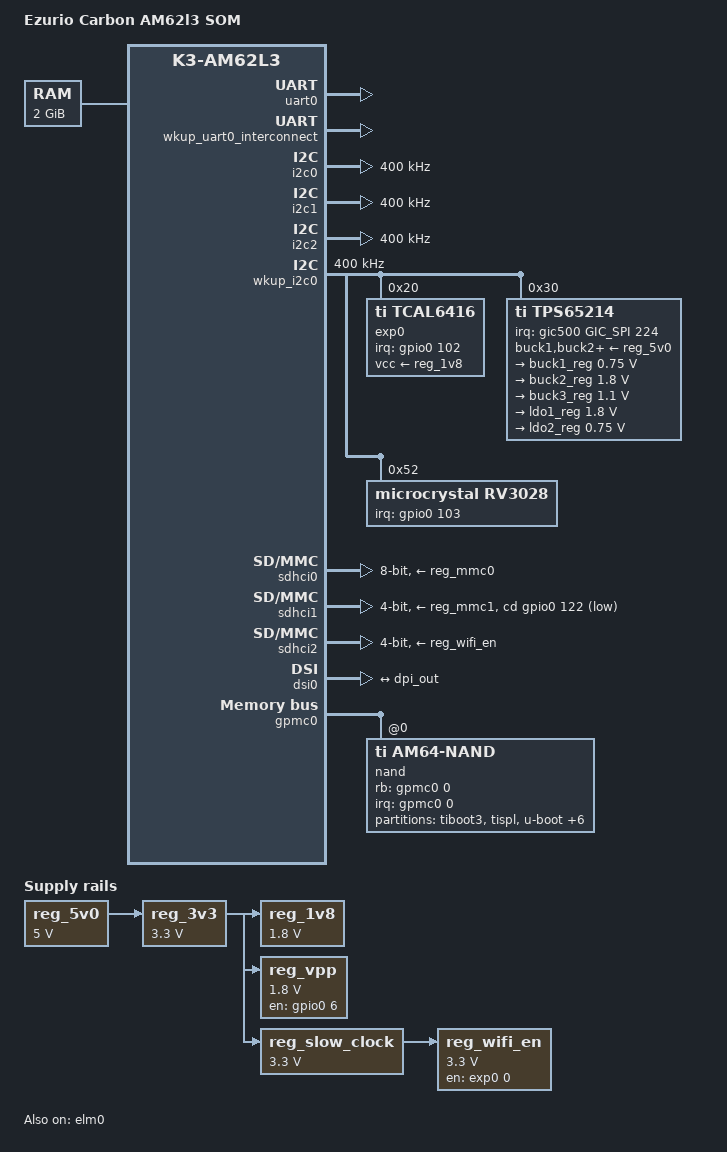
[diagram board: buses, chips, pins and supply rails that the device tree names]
// SPDX-License-Identifier: GPL-2.0
/*
 * AM62L Carbon SOM
 *
 * Copyright (C) 2026 Ezurio LLC
 */

#include <dt-bindings/gpio/gpio.h>
#include <dt-bindings/input/input.h>
#include "k3-pinctrl.h"

#include "k3-am62l3.dtsi"

/ {
	compatible = "summit,am62l3-carbon", "ti,am62l3";
	model = "Ezurio Carbon AM62l3 SOM";

	aliases {
		mmc0 = &sdhci0;			/* eMMC */
		mmc1 = &sdhci1;			/* SD/MMC */
		mmc2 = &sdhci2;			/* Wi-Fi */
		serial0 = &wkup_uart0;		/* UART_C */
		serial2 = &uart0; 		/* UART_CON */
		serial3 = &uart1;		/* BT */
		serial4 = &uart5;		/* UART_A */
		serial5 = &uart2;		/* UART_B */
		serial6 = &uart3;		/* UART_D */
		ethernet0 = &cpsw_port1;	/* ETH_A */
		ethernet1 = &cpsw_port2;	/* ETH_B */
		i2c0 = &wkup_i2c0;		/* I2C WKUP */
		i2c1 = &i2c0;		/* I2C_A */
		i2c2 = &i2c1;		/* I2C_B */
		i2c3 = &i2c2;		/* I2C_C */
		spi1 = &spi1;		/* SPI_A */
		spi2 = &spi0;		/* SPI_B */
		can0 = &mcan1;		/* CAN_A */
		can1 = &mcan2;		/* CAN_B */
		usb0 = &usb0;			/* USB_A */
		usb1 = &usb1;			/* USB_B */
		gpio0 = &wkup_gpio0;
		gpio1 = &gpio0;
		gpio2 = &gpio2;
		gpio3 = &exp0;
		rtc0 = &rv3028;
		rtc1 = &wkup_rtc0;
	};

	chosen {
		stdout-path = "serial2:115200n8";
	};

	memory: memory@80000000 {
		device_type = "memory";
		/* 2G RAM */
		reg = <0x00000000 0x80000000 0x00000000 0x80000000>;
	};

	thermal-zones {
		wkup0-thermal {
			polling-delay-passive = <250>;	/* milliSeconds */
			polling-delay = <500>;		/* milliSeconds */
			thermal-sensors = <&vtm0 0>;

			trips {
				crit0 {
					temperature = <125000>;
					hysteresis = <2000>;
					type = "critical";
				};
			};
		};
	};

	reserved_memory: reserved-memory {
		#address-cells = <2>;
		#size-cells = <2>;
		ranges;

		/* global cma region */
		cma: linux,cma {
			compatible = "shared-dma-pool";
			reusable;
			size = <0x00 0x10000000>;
			linux,cma-default;
		};
	};

	reg_5v0: regulator-5v0 {
		compatible = "regulator-fixed";
		regulator-name = "reg_5v0";

		regulator-min-microvolt = <5000000>;
		regulator-max-microvolt = <5000000>;

		regulator-always-on;
		regulator-boot-on;
	};

	reg_3v3: regulator-3v3 {
		compatible = "regulator-fixed";
		regulator-name = "reg_3v3";

		vin-supply = <&reg_5v0>;
		regulator-min-microvolt = <3300000>;
		regulator-max-microvolt = <3300000>;

		regulator-always-on;
		regulator-boot-on;
	};

	reg_1v8: regulator-1v8 {
		compatible = "regulator-fixed";
		regulator-name = "reg_1v8";

		vin-supply = <&reg_3v3>;
		regulator-min-microvolt = <1800000>;
		regulator-max-microvolt = <1800000>;

		regulator-always-on;
		regulator-boot-on;
	};

	reg_vpp: regulator-vpp {
		compatible = "regulator-fixed";
		regulator-name = "reg_vpp";

		vin-supply = <&reg_3v3>;
		regulator-min-microvolt = <1800000>;
		regulator-max-microvolt = <1800000>;

		pinctrl-names = "default";
		pinctrl-0 = <&vpp_en_pins_default>;
		gpios = <&gpio0 6 GPIO_ACTIVE_HIGH>;
		enable-active-high;
	};

	reg_mmc0: regulator-mmc0 {
		compatible = "regulator-fixed";
		regulator-name = "reg_mmc0";

		vin-supply = <&reg_3v3>;
		regulator-min-microvolt = <3300000>;
		regulator-max-microvolt = <3300000>;

		gpios = <&exp0 7 GPIO_ACTIVE_HIGH>;
		enable-active-high;

		startup-delay-us = <5000>;
		status = "disabled";
	};

	reg_mmc1: regulator-mmc1 {
		compatible = "regulator-fixed";
		regulator-name = "reg_mmc1";

		vin-supply = <&reg_3v3>;
		regulator-min-microvolt = <3300000>;
		regulator-max-microvolt = <3300000>;

		pinctrl-names = "default";
		pinctrl-0 = <&mmc1_power_en_pins_default>;
		gpios = <&gpio0 51 GPIO_ACTIVE_HIGH>;
		enable-active-high;

		startup-delay-us = <5000>;
		status = "disabled";
	};

	mmc0_pwrseq: mmc0-pwrseq {
		pinctrl-names = "default";
		pinctrl-0 = <&mmc0_reset_pins_default>;

		compatible = "mmc-pwrseq-emmc";
		reset-gpios = <&gpio0 52 GPIO_ACTIVE_LOW>;

		status = "disabled";
	};

	reg_slow_clock: regulator-slow-clock {
		compatible = "regulator-fixed-clock";

		regulator-name = "reg_slow_clock";
		regulator-min-microvolt = <3300000>;
		regulator-max-microvolt = <3300000>;

		vin-supply = <&reg_3v3>;
		clocks = <&scmi_clk 406>;

		startup-delay-us = <1000>;

		pinctrl-names = "default";
		pinctrl-0 = <&wkup_clkout_pins_default>;

		assigned-clocks = <&scmi_clk 471>, <&scmi_clk 406>;
		assigned-clock-parents = <&scmi_clk 468>, <&scmi_clk 404>;
	};

	reg_wifi_en: regulator-wifi-en {
		compatible = "regulator-fixed";

		regulator-name = "reg_wifi_en";
		regulator-min-microvolt = <3300000>;
		regulator-max-microvolt = <3300000>;

		vin-supply = <&reg_slow_clock>;

		gpios = <&exp0 0 GPIO_ACTIVE_HIGH>;
		enable-active-high;
	};

	wifi_wakeup: wifi-wakeup {
		compatible = "gpio-keys";

		status = "disabled";

		pinctrl-names = "default";
		pinctrl-0 = <&wifi_wake_default>, <&bt_wake_pins_default>;

		wifi-wake {
			label = "Wi-Fi Wake Up";
			linux,code = <KEY_WAKEUP>;
			wakeup-source;

			interrupts-extended = <&gpio0 82 IRQ_TYPE_EDGE_FALLING>,
				<&pmx0 0x18c>;
			interrupt-names = "irq", "wakeup";

			//gpios = <&gpio0 82 GPIO_ACTIVE_LOW>;
			//wakeup-event-action = <EV_ACT_ASSERTED>;
		};

		bt-wake {
			label = "BT Wake Up";
			linux,code = <KEY_WAKEUP>;
			wakeup-source;

			interrupts-extended = <&gpio0 5 IRQ_TYPE_EDGE_FALLING>,
				<&pmx0 0x050>;
			interrupt-names = "irq", "wakeup";

			//gpios = <&gpio0 5 GPIO_ACTIVE_LOW>;
			//wakeup-event-action = <EV_ACT_ASSERTED>;
		};
	};
};

&uart0 {
	/* UART_CON */
	pinctrl-names = "default", "wakeup";
	pinctrl-0 = <&uart0_tx_pins_default>, <&uart0_rx_pins_default>;
	pinctrl-1 = <&uart0_tx_pins_default>, <&uart0_rx_pins_wakeup>;
	wakeup-source;
	status = "okay";
};

&uart1 {
	/* BT */
	pinctrl-names = "default";
	pinctrl-0 = <&uart1_pins_default>;

	uart-has-rtscts;
};

&uart2 {
	/* UART_B */
	pinctrl-names = "default";
	pinctrl-0 = <&uart2_pins_default>;
};

&uart3 {
	/* UART_D */
	pinctrl-names = "default";
	pinctrl-0 = <&uart3_pins_default>;
};

&uart5 {
	/* UART_A */
	pinctrl-names = "default";
	pinctrl-0 = <&uart5_pins_default>;
};

&wkup_uart0_interconnect {
	status = "okay";
};

&wkup_uart0 {
	/* UART_C */
	pinctrl-names = "default";
	pinctrl-0 = <&wkup_uart0_pins_default>;
};

&i2c0 {
	/* I2C_A */
	pinctrl-names = "default";
	pinctrl-0 = <&i2c0_pins_default>;

	clock-frequency = <400000>;
};

&i2c1 {
	/* I2C_B */
	pinctrl-names = "default";
	pinctrl-0 = <&i2c1_pins_default>;

	clock-frequency = <400000>;
};

&i2c2 {
	/* I2C_C */
	pinctrl-names = "default";
	pinctrl-0 = <&i2c2_pins_default>;

	clock-frequency = <400000>;
};

&wkup_i2c0 {
	pinctrl-names = "default";
	pinctrl-0 = <&wkup_i2c0_pins_default>;

	clock-frequency = <400000>;

	status = "okay";

	exp0: gpio@20 {
		compatible = "ti,tcal6416", "nxp,pcal6416";
		reg = <0x20>;

		vcc-supply = <&reg_1v8>;

		gpio-controller;
		#gpio-cells = <2>;

		gpio-line-names =
			"W_DISABLE1", "W_DISABLE2", "CARRIER_PWR_EN",
			"BT_DEVICE_WAKE", "WL_DEVICE_WAKE", "GPIO_C_2",
			"CARRIER_STBY", "SDIO_B_PWR_EN", "GPIO_B_6",
			"GPIO_B_7", "USB_A_ID","USB_A_OC",
			"ETH_B_RST", "ETH_B_INT", "GPIO_C_4",
			"GPIO_C_5";

		interrupt-controller;
		#interrupt-cells = <2>;

		pinctrl-names = "default";
		pinctrl-0 = <&exp0_pins_default>;
		interrupts-extended = <&gpio0 102 IRQ_TYPE_EDGE_FALLING>;
	};

	tps65214: pmic@30 {
		compatible = "ti,tps65214";
		reg = <0x30>;
		interrupts-extended = <&gic500 GIC_SPI 224 IRQ_TYPE_LEVEL_HIGH>;
		pinctrl-0 = <&pmic_irq_pins_default>;
		ti,power-button;

		buck1-supply = <&reg_5v0>;
		buck2-supply = <&reg_5v0>;
		buck3-supply = <&reg_5v0>;
		ldo1-supply = <&reg_5v0>;
		ldo2-supply = <&reg_5v0>;

		regulators {
			buck1_reg: buck1 {
				regulator-name = "VDD_CORE";
				regulator-min-microvolt = <750000>;
				regulator-max-microvolt = <750000>;
				regulator-always-on;
				regulator-boot-on;
			};

			buck2_reg: buck2 {
				regulator-name = "DVDD_1V8";
				regulator-min-microvolt = <1800000>;
				regulator-max-microvolt = <1800000>;
				regulator-always-on;
				regulator-boot-on;
			};

			buck3_reg: buck3 {
				regulator-name = "VDD_LPDDR4";
				regulator-min-microvolt = <1100000>;
				regulator-max-microvolt = <1100000>;
				regulator-always-on;
				regulator-boot-on;
			};

			ldo1_reg: ldo1 {
				regulator-name = "VDDA_1V8";
				regulator-min-microvolt = <1800000>;
				regulator-max-microvolt = <1800000>;
				regulator-always-on;
				regulator-boot-on;
			};

			ldo2_reg: ldo2 {
				regulator-name = "VDDA_V75";
				regulator-min-microvolt = <750000>;
				regulator-max-microvolt = <750000>;
				regulator-always-on;
				regulator-boot-on;
			};
		};
	};

	rv3028: rtc@52 {
		compatible = "microcrystal,rv3028";
		reg = <0x52>;

		backup-switchover-dsm;
		pinctrl-names = "default";
		pinctrl-0 = <&rtc_pins_default>;
		interrupts-extended = <&gpio0 103 IRQ_TYPE_EDGE_FALLING>;
		interrupt-names = "irq";
		wakeup-source;

		#clock-cells = <0>;

		eeprom {
			compatible = "microcrystal,rv3028-eeprom";
			#address-cells = <1>;
			#size-cells = <1>;

			eth_mac0: mac-address@0 {
				reg = <0x00 0x06>;
			};

			eth_mac1: mac-address@6 {
				reg = <0x06 0x06>;
			};

			ram_type: ram-type@c {
				reg = <0x0c 0x02>;
			};

			radio_type: radio-type@e {
				reg = <0x0e 0x02>;
			};
		};
	};
};

&spi0 {
	/* SPI_B */
	pinctrl-names = "default";
	pinctrl-0 = <&spi0_pins_default>;
};

&spi1 {
	/* SPI_A */
	pinctrl-names = "default";
	pinctrl-0 = <&spi1_pins_default>;
};

&mcan1 {
	/* CAN_A */
	pinctrl-names = "default";
	pinctrl-0 = <&mcan1_pins_default>;
};

&mcan2 {
	/* CAN_B */
	pinctrl-names = "default";
	pinctrl-0 = <&mcan2_pins_default>;
};

&epwm1 {
	/* PWM_0 */
	pinctrl-names = "default";
	pinctrl-0 = <&epwm1_pins_default>;
};

&gpio0 {
	status = "okay";
};

&gpio2 {
	status = "okay";
};

&sdhci0 {
	/* eMMC */
	pinctrl-names = "default";
	pinctrl-0 = <&mmc0_pins_default>;

	vmmc-supply = <&reg_mmc0>;
	mmc-pwrseq = <&mmc0_pwrseq>;

	disable-wp;
	bus-width = <8>;

	ti,fails-without-test-cd;
};

&sdhci1 {
	/* SD/MMC */
	pinctrl-names = "default";
	pinctrl-0 = <&mmc1_pins_default>;

	vmmc-supply = <&reg_mmc1>;

	cd-gpios = <&gpio0 122 GPIO_ACTIVE_LOW>;

	disable-wp;
	bus-width = <4>;

	ti,fails-without-test-cd;
};

&sdhci2 {
	/* WI-FI */
	pinctrl-names = "default";
	pinctrl-0 = <&mmc2_pins_default>;

	vmmc-supply = <&reg_wifi_en>;

	disable-wp;
	bus-width = <4>;

	ti,fails-without-test-cd;

	keep-power-in-suspend;
};

&tscadc0 {
	adc {
		ti,adc-channels = <0 3>;
	};
};

&cpsw3g {
	pinctrl-names = "default";
	pinctrl-0 = <&rgmii1_pins_default>, <&rgmii2_pins_default>;

	status = "disabled";
};

&cpsw_port1 {
	status = "disabled";
	phy-mode = "rgmii-id";

	nvmem-cells = <&eth_mac0>;
	nvmem-cell-names = "mac-address";
};

&cpsw_port2 {
	status = "disabled";
	phy-mode = "rgmii-id";

	nvmem-cells = <&eth_mac1>;
	nvmem-cell-names = "mac-address";
};

&cpsw3g_mdio {
	pinctrl-names = "default";
	pinctrl-0 = <&mdio0_pins_default>;
};

&dss_ports {
	#address-cells = <1>;
	#size-cells = <0>;

	port@0 {
		reg = <0>;

		dpi_out: endpoint {
			remote-endpoint = <&dsi0_in>;
		};
	};
};

&dsi0 {
	#address-cells = <1>;
	#size-cells = <0>;

	ports {
		#address-cells = <1>;
		#size-cells = <0>;

		port@0 {
			reg = <0>;
			dsi0_out: endpoint {
			};
		};

		port@1 {
			reg = <1>;
			dsi0_in: endpoint {
				remote-endpoint = <&dpi_out>;
			};
		};
	};
};

&elm0 {
	status = "okay";
};

&gpmc0 {
	status = "okay";

	pinctrl-names = "default";
	pinctrl-0 = <&gpmc0_pins_default>;
	
	#address-cells = <2>;
	#size-cells = <1>;
	
	ranges = <0 0 0x00 0x51000000 0x01000000>; /* CS0 space. Min partition = 16MB */

	nand@0,0 {
		compatible = "ti,am64-nand";
		reg = <0 0 64>;		/* device IO registers */
		interrupt-parent = <&gpmc0>;
		interrupts = <0 IRQ_TYPE_NONE>, /* fifoevent */
			     <1 IRQ_TYPE_NONE>;	/* termcount */
		rb-gpios = <&gpmc0 0 GPIO_ACTIVE_HIGH>;	/* gpmc_wait0 */
		ti,nand-xfer-type = "prefetch-polled";
		ti,nand-ecc-opt = "bch8";	/* BCH8: Bootrom limitation */
		ti,elm-id = <&elm0>;
		nand-bus-width = <8>;
		gpmc,device-width = <1>;
		gpmc,sync-clk-ps = <0>;
		gpmc,cs-on-ns = <0>;
		gpmc,cs-rd-off-ns = <40>;
		gpmc,cs-wr-off-ns = <40>;
		gpmc,adv-on-ns = <0>;
		gpmc,adv-rd-off-ns = <25>;
		gpmc,adv-wr-off-ns = <25>;
		gpmc,we-on-ns = <0>;
		gpmc,we-off-ns = <20>;
		gpmc,oe-on-ns = <3>;
		gpmc,oe-off-ns = <30>;
		gpmc,access-ns = <30>;
		gpmc,rd-cycle-ns = <40>;
		gpmc,wr-cycle-ns = <40>;
		gpmc,bus-turnaround-ns = <0>;
		gpmc,cycle2cycle-delay-ns = <0>;
		gpmc,clk-activation-ns = <0>;
		gpmc,wr-access-ns = <40>;
		gpmc,wr-data-mux-bus-ns = <0>;

		partitions {
			compatible = "fixed-partitions";
			#address-cells = <1>;
			#size-cells = <1>;

			partition@0 {
				label = "tiboot3";
				reg = <0x00000000 0x00080000>;	/* 512KB */
			};
			partition@80000 {
				label = "tispl";
				reg = <0x00080000 0x00200000>; /* 2M */
			};
			partition@280000 {
				label = "u-boot";
				reg = <0x00280000 0x00180000>;	/* 1.5M */
			};
			partition@400000 {
				label = "tiboot3.backup";	/* 512KB */
				reg = <0x00400000 0x00080000>;	/* BootROM looks at 4M */
			};
			partition@480000 {
				label = "tispl.backup";
				reg = <0x00480000 0x00200000>; /* 2M */
			};
			partition@680000 {
				label = "u-boot.backup";
				reg = <0x00680000 0x00180000>;	/* 1.5M */
			};
			partition@800000 {
				label = "u-boot-env-a";
				reg = <0x00800000 0x00040000>;	/* 256K */
			};
			partition@840000 {
				label = "u-boot-env-b";
				reg = <0x00840000 0x00040000>;	/* 256K */
			};
			partition@880000 {
				label = "ubi";
				reg = <0x00880000 0x3f700000>; /* exact UBI size, leave 512KB for BBT */
			};
		};
	};
};

&usbss0 {
	ti,vbus-divider;
};

&usbss1 {
	ti,vbus-divider;
};

&mcasp2 {
	#sound-dai-cells = <0>;

	pinctrl-names = "default";
	pinctrl-0 = <&mcasp2_pins_default>;

	op-mode = <0>;          /* MCASP_IIS_MODE */
	tdm-slots = <2>;

	serial-dir = <  /* 0: INACTIVE, 1: TX, 2: RX */
		   0 0 0 0
		   0 0 0 0
		   0 0 0 0
		   1 0 0 2
	>;
	tx-num-evt = <0>;
	rx-num-evt = <0>;
};

&pmx0 {
	uart0_tx_pins_default: uart0-tx-default-pins {
		pinctrl-single,pins = <
			AM62LX_IOPAD(0x01b8, PIN_OUTPUT, 0) /* UART_CON_TXD (C13) UART0_TXD */
		>;
	};

	uart0_rx_pins_default: uart0-rx-default-pins {
		pinctrl-single,pins = <
			AM62LX_IOPAD(0x01b4, PIN_INPUT_PULLUP, 0) /* UART_CON_RXD (D13) UART0_RXD */
		>;
	};

	uart0_rx_pins_wakeup: uart0-rx-wakeup-pins {
		pinctrl-single,pins = <
			AM62LX_IOPAD(0x01b4, PIN_INPUT_PULLUP | PIN_WKUP_EN, 0)	/* UART_CON_RXD (D13) UART0_RXD */
		>;
	};

	uart1_pins_default: uart1-default-pins {
		pinctrl-single,pins = <
			AM62LX_IOPAD(0x0180, PIN_INPUT_PULLUP, 2) /* UART_BT_CTS (A8) MCASP0_AXR3.UART1_CTSn */
			AM62LX_IOPAD(0x0184, PIN_OUTPUT, 2) /* UART_BT_RTS (B10) MCASP0_AXR2.UART1_RTSn */
			AM62LX_IOPAD(0x0198, PIN_INPUT_PULLUP, 2) /* UART_BT_RX (C11) MCASP0_AFSR.UART1_RXD */
			AM62LX_IOPAD(0x019c, PIN_OUTPUT, 2) /* UART_BT_TX (A12) MCASP0_ACLKR.UART1_TXD */
		>;
	};

	uart2_pins_default: uart2-default-pins {
		pinctrl-single,pins = <
			AM62LX_IOPAD(0x00B0, PIN_INPUT_PULLUP, 8) /* UART_B_CTS (A8) GPMC0_AD14.UART2_CTSn */
			AM62LX_IOPAD(0x00B4, PIN_OUTPUT, 8) /* UART_B_RTS (B10) GPMC0_AD15.UART2_RTSn */
			AM62LX_IOPAD(0x0098, PIN_INPUT_PULLUP, 2) /* UART_B_RX (H19) GPMC0_AD8.UART2_RXD */
			AM62LX_IOPAD(0x009c, PIN_OUTPUT, 2) /* UART_B_TX (H20) GPMC0_AD9.UART2_TXD */
		>;
	};

	uart3_pins_default: uart3-default-pins {
		pinctrl-single,pins = <
			AM62LX_IOPAD(0x00a0, PIN_INPUT_PULLUP, 2) /* UART_D_RX (H21) GPMC0_AD10.UART3_RXD */
			AM62LX_IOPAD(0x00a4, PIN_OUTPUT, 2) /* UART_D_TX (H18) GPMC0_AD11.UART3_TXD */
		>;
	};

	uart5_pins_default: uart5-default-pins {
		pinctrl-single,pins = <
			AM62LX_IOPAD(0x0044, PIN_INPUT_PULLUP, 5) /* UART_A_CTS (E22) OSPI0_DQS.UART5_CTSn */
			AM62LX_IOPAD(0x0040, PIN_OUTPUT, 5) /* UART_A_RTS (E18) OSPI0_LBCLKO.UART5_RTSn */
			AM62LX_IOPAD(0x01c4, PIN_INPUT_PULLUP, 1) /* UART_A_RX (B16) MCAN0_TX.UART5_RXD */
			AM62LX_IOPAD(0x01c8, PIN_OUTPUT, 1) /* UART_A_TX (B15) MCAN0_RX.UART5_TXD */
		>;
	};

	wkup_clkout_pins_default: wkup-clkout-default-pins {
		pinctrl-single,pins = <
			AM62LX_IOPAD(0x0018, PIN_OUTPUT, 0) /* (Y23) WKUP_CLKOUT0 */
		>;
	};

	wkup_uart0_pins_default: wkup-uart0-default-pins {
		pinctrl-single,pins = <
			AM62LX_IOPAD(0x0000, PIN_INPUT_PULLUP, 0) /* UART_C_RX (Y22) WKUP_UART0_RXD */
			AM62LX_IOPAD(0x0004, PIN_OUTPUT, 0) /* UART_C_TX (AA23) WKUP_UART0_TXD */
		>;
	};

	wkup_uart0_rtscts_pins_default: wkup-uart0-rtscts-default-pins {
		pinctrl-single,pins = <
			AM62LX_IOPAD(0x0008, PIN_INPUT_PULLUP, 0) /* UART_C_CTS (W23) WKUP_UART0_CTSn */
			AM62LX_IOPAD(0x000C, PIN_OUTPUT, 0) /* UART_C_RTS (W22) WKUP_UART0_RTSn */
		>;
	};

	wkup_i2c0_pins_default: wkup-i2c0-default-pins {
		pinctrl-single,pins = <
			AM62LX_IOPAD(0x0010, PIN_INPUT_PULLUP, 0) /* (AB22) WKUP_I2C0_SCL */
			AM62LX_IOPAD(0x0014, PIN_INPUT_PULLUP, 0) /* (AA22) WKUP_I2C0_SDA */
		>;
	};

	i2c0_pins_default: i2c0-default-pins {
		pinctrl-single,pins = <
			AM62LX_IOPAD(0x01cc, PIN_INPUT_PULLUP, 0) /* I2C_A_SCL (B7) I2C0_SCL */
			AM62LX_IOPAD(0x01d0, PIN_INPUT_PULLUP, 0) /* I2C_A_SDA (A7) I2C0_SDA */
		>;
	};

	i2c1_pins_default: i2c1-default-pins {
		pinctrl-single,pins = <
			AM62LX_IOPAD(0x01d4, PIN_INPUT_PULLUP, 0) /* I2C_B_SCL (D7) I2C1_SCL */
			AM62LX_IOPAD(0x01d8, PIN_INPUT_PULLUP, 0) /* I2C_B_SDA (A6) I2C1_SDA */
		>;
	};

	i2c2_pins_default: i2c2-default-pins {
		pinctrl-single,pins = <
			AM62LX_IOPAD(0x00ec, PIN_INPUT_PULLUP, 1) /* I2C_C_SCL (M23) GPMC0_CSn2.I2C2_SCL */
			AM62LX_IOPAD(0x00f0, PIN_INPUT_PULLUP, 1) /* I2C_C_SDA (M22) GPMC0_CSn3.I2C2_SDA */
		>;
	};

	spi0_pins_default: spi0-default-pins {
		pinctrl-single,pins = <
			AM62LX_IOPAD(0x01ac, PIN_OUTPUT, 0) /* SPI_B_SDO (E12) SPI0_D0 */
			AM62LX_IOPAD(0x01b0, PIN_INPUT, 0) /* SPI_B_SDI (B12) SPI0_D1 */
			AM62LX_IOPAD(0x01a8, PIN_OUTPUT, 0) /* SPI_B_SCK (E13) SPI0_CLK */
			AM62LX_IOPAD(0x01a0, PIN_INPUT, 0) /* SPI_B_CS0# (F11) SPI0_CS0 */
		>;
	};

	spi0_cs1_pins_default: spi0-cs1-default-pins {
		pinctrl-single,pins = <
			AM62LX_IOPAD(0x01a4, PIN_INPUT, 0) /* SPI_B_CS1# (D11) SPI0_CS1 */
		>;
	};

	spi1_pins_default: spi1-default-pins {
		pinctrl-single,pins = <
			AM62LX_IOPAD(0x0060, PIN_OUTPUT, 1) /* SPI_A_SDO (G20) OSPI0_D6.SPI1_D0 */
			AM62LX_IOPAD(0x0064, PIN_INPUT, 1) /* SPI_A_SDI (F20) OSPI0_D7.SPI1_D1 */
			AM62LX_IOPAD(0x005c, PIN_OUTPUT, 1) /* SPI_A_SCK (F19) OSPI0_D5.SPI1_CLK */
			AM62LX_IOPAD(0x0058, PIN_INPUT, 1) /* SPI_A_CS0# (F21) OSPI0_D4.SPI1_CS0 */
		>;
	};

	spi1_cs1_pins_default: spi1-cs1-default-pins {
		pinctrl-single,pins = <
			AM62LX_IOPAD(0x0070, PIN_INPUT, 1) /* SPI_A_CS1# (D18) OSPI0_CSn2.SPI1_CS1 */
		>;
	};

	mcan1_pins_default: mcan1-default-pins {
		pinctrl-single,pins = <
			AM62LX_IOPAD(0x0e0, PIN_OUTPUT, 9) /* CAN_A_TX (M21) GPMC0_DIR.MCAN1_TX */
			AM62LX_IOPAD(0x0d8, PIN_INPUT, 9) /* CAN_A_RX (N22) GPMC0_WAIT1.MCAN1_RX */
		>;
	};

	mcan2_pins_default: mcan2-default-pins {
		pinctrl-single,pins = <
			AM62LX_IOPAD(0x1c0, PIN_OUTPUT, 6) /* CAN_B_TX (B13) UART0_RTSn.MCAN2_TX */
			AM62LX_IOPAD(0x1bc, PIN_INPUT, 6) /* CAN_B_RX (B14) UART0_CTSn.MCAN2_RX */
		>;
	};

	mmc0_pins_default: mmc0-default-pins {
		pinctrl-single,pins = <
			AM62LX_IOPAD(0x0214, PIN_INPUT_PULLUP, 0) /* SDIO_B_CMD (D2) MMC0_CMD */
			AM62LX_IOPAD(0x020c, PIN_OUTPUT, 0) /* SDIO_B_CLK (B2) MMC0_CLK */
			AM62LX_IOPAD(0x0208, PIN_INPUT_PULLUP, 0) /* SDIO_B_DAT0 (D3) MMC0_DAT0 */
			AM62LX_IOPAD(0x0204, PIN_INPUT_PULLUP, 0) /* SDIO_B_DAT1 (D4) MMC0_DAT1 */
			AM62LX_IOPAD(0x0200, PIN_INPUT_PULLUP, 0) /* SDIO_B_DAT2 (C1) MMC0_DAT2 */
			AM62LX_IOPAD(0x01fc, PIN_INPUT_PULLUP, 0) /* SDIO_B_DAT3 (C2) MMC0_DAT3 */
			AM62LX_IOPAD(0x01f8, PIN_INPUT_PULLUP, 0) /* SDIO_B_DAT4 (C4) MMC0_DAT4 */
			AM62LX_IOPAD(0x01f4, PIN_INPUT_PULLUP, 0) /* SDIO_B_DAT5 (B3) MMC0_DAT5 */
			AM62LX_IOPAD(0x01f0, PIN_INPUT_PULLUP, 0) /* SDIO_B_DAT6 (A3) MMC0_DAT6 */
			AM62LX_IOPAD(0x01ec, PIN_INPUT_PULLUP, 0) /* SDIO_B_DAT7 (B4) MMC0_DAT7 */
			AM62LX_IOPAD(0x0210, PIN_INPUT, 0) /* (#N/A) MMC0_CLKLB */
		>;
	};

	mmc1_pins_default: mmc1-default-pins {
		pinctrl-single,pins = <
			AM62LX_IOPAD(0x0230, PIN_INPUT_PULLUP, 0) /* SDIO_A_CMD (Y3) MMC1_CMD */
			AM62LX_IOPAD(0x0228, PIN_OUTPUT, 0) /* SDIO_A_CLK (Y2) MMC1_CLK */
			AM62LX_IOPAD(0x0224, PIN_INPUT_PULLUP, 0) /* SDIO_A_DAT0 (AA1) MMC1_DAT0 */
			AM62LX_IOPAD(0x0220, PIN_INPUT_PULLUP, 0) /* SDIO_A_DAT1 (Y4) MMC1_DAT1 */
			AM62LX_IOPAD(0x021c, PIN_INPUT_PULLUP, 0) /* SDIO_A_DAT2 (AA2) MMC1_DAT2 */
			AM62LX_IOPAD(0x0218, PIN_INPUT_PULLUP, 0) /* SDIO_A_DAT3 (AB2) MMC1_DAT3 */
			AM62LX_IOPAD(0x022c, PIN_INPUT, 0) /* (#N/A) MMC1_CLKLB */
			AM62LX_IOPAD(0x0234, PIN_INPUT_PULLUP, 7) /* SDIO_A_CD (B6) MMC1_SDCD.GPIO0_122 */
		>;
	};

	mmc2_pins_default: mmc2-default-pins {
		pinctrl-single,pins = <
			AM62LX_IOPAD(0x010c, PIN_INPUT_PULLUP, 0) /* (U23) MMC2_CMD */
			AM62LX_IOPAD(0x0104, PIN_OUTPUT, 0) /* (R23) MMC2_CLK */
			AM62LX_IOPAD(0x0100, PIN_INPUT_PULLUP, 0) /* (U22) MMC2_DAT0 */
			AM62LX_IOPAD(0x00fc, PIN_INPUT_PULLUP, 0) /* (T22) MMC2_DAT1 */
			AM62LX_IOPAD(0x00f8, PIN_INPUT_PULLUP, 0) /* (T23) MMC2_DAT2 */
			AM62LX_IOPAD(0x00f4, PIN_INPUT_PULLUP, 0) /* (R22) MMC2_DAT3 */
			AM62LX_IOPAD(0x0108, PIN_INPUT, 0) /* (#N/A) MMC2_CLKLB */
		>;
	};

	gpmc0_pins_default: gpmc0-default-pins {
		pinctrl-single,pins = <
			AM62LX_IOPAD(0x0078, PIN_INPUT, 0) /* (L22) GPMC0_AD0 */
			AM62LX_IOPAD(0x007c, PIN_INPUT, 0) /* (L23) GPMC0_AD1 */
			AM62LX_IOPAD(0x0080, PIN_INPUT, 0) /* (K22) GPMC0_AD2 */
			AM62LX_IOPAD(0x0084, PIN_INPUT, 0) /* (J23) GPMC0_AD3 */
			AM62LX_IOPAD(0x0088, PIN_INPUT, 0) /* (K23) GPMC0_AD4 */
			AM62LX_IOPAD(0x008c, PIN_INPUT, 0) /* (H22) GPMC0_AD5 */
			AM62LX_IOPAD(0x0090, PIN_INPUT, 0) /* (H23) GPMC0_AD6 */
			AM62LX_IOPAD(0x0094, PIN_INPUT, 0) /* (J22) GPMC0_AD7 */
			AM62LX_IOPAD(0x00d4, PIN_INPUT, 0) /* (N23) GPMC0_WAIT0 */
			AM62LX_IOPAD(0x00e4, PIN_OUTPUT, 0) /* (L20) GPMC0_CSn0 */
			AM62LX_IOPAD(0x00c0, PIN_OUTPUT, 0) /* (N19) GPMC0_ADVn_ALE */
			AM62LX_IOPAD(0x00c4, PIN_OUTPUT, 0) /* (N20) GPMC0_OEn_REn */
			AM62LX_IOPAD(0x00c8, PIN_OUTPUT, 0) /* (M19) GPMC0_WEn */
			AM62LX_IOPAD(0x00cc, PIN_OUTPUT, 0) /* (P23) GPMC0_BE0n_CLE */
			AM62LX_IOPAD(0x00dc, PIN_OUTPUT, 0) /* (N21) GPMC0_WPn */
		>;
	};

	mdio0_pins_default: mdio0-default-pins {
		pinctrl-single,pins = <
			AM62LX_IOPAD(0x014c, PIN_OUTPUT, 0) /* ETH_A(B)_MDC (AC15) MDIO0_MDC */
			AM62LX_IOPAD(0x0148, PIN_INPUT, 0) /* ETH_A(B)_MDIO (AC13) MDIO0_MDIO */
		>;
	};

	rgmii1_pins_default: rgmii1-default-pins {
		pinctrl-single,pins = <
			AM62LX_IOPAD(0x0138, PIN_INPUT, 0) /* ETH_A_(S)(R)(G)MII_RXD0 (Y8) RGMII1_RD0 */
			AM62LX_IOPAD(0x013c, PIN_INPUT, 0) /* ETH_A_(S)(R)(G)MII_RXD1 (AA6) RGMII1_RD1 */
			AM62LX_IOPAD(0x0140, PIN_INPUT, 0) /* ETH_A_(S)(R)(G)MII_RXD2 (AA8) RGMII1_RD2 */
			AM62LX_IOPAD(0x0144, PIN_INPUT, 0) /* ETH_A_(S)(R)(G)MII_RXD3 (W8) RGMII1_RD3 */
			AM62LX_IOPAD(0x0134, PIN_INPUT, 0) /* ETH_A_(R)(G)MII_RX_CLK (Y7) RGMII1_RXC */
			AM62LX_IOPAD(0x0130, PIN_INPUT, 0) /* ETH_A_(R)(G)MII_RX_DV(_ER) (Y6) RGMII1_RX_CTL */
			AM62LX_IOPAD(0x0120, PIN_OUTPUT, 0) /* ETH_A_(S)(R)(G)MII_TXD0 (AC10) RGMII1_TD0 */
			AM62LX_IOPAD(0x0124, PIN_OUTPUT, 0) /* ETH_A_(S)(R)(G)MII_TXD1 (W13) RGMII1_TD1 */
			AM62LX_IOPAD(0x0128, PIN_OUTPUT, 0) /* ETH_A_(S)(R)(G)MII_TXD2 (Y11) RGMII1_TD2 */
			AM62LX_IOPAD(0x012c, PIN_OUTPUT, 0) /* ETH_A_(S)(R)(G)MII_TXD3 (AA11) RGMII1_TD3 */
			AM62LX_IOPAD(0x011c, PIN_OUTPUT, 0) /* ETH_A_(R)(G)MII_TX_CLK (W11) RGMII1_TXC */
			AM62LX_IOPAD(0x0118, PIN_OUTPUT, 0) /* ETH_A_(R)(G)MII_TX_EN(_ER) (AB11) RGMII1_TX_CTL */
		>;
	};

	rgmii2_pins_default: rgmii2-default-pins {
		pinctrl-single,pins = <
			AM62LX_IOPAD(0x0170, PIN_INPUT, 0) /* ETH_B_(S)(R)(G)MII_RXD0 (AB9) RGMII2_RD0 */
			AM62LX_IOPAD(0x0174, PIN_INPUT, 0) /* ETH_B_(S)(R)(G)MII_RXD1 (AC9) RGMII2_RD1 */
			AM62LX_IOPAD(0x0178, PIN_INPUT, 0) /* ETH_B_(S)(R)(G)MII_RXD2 (AB10) RGMII2_RD2 */
			AM62LX_IOPAD(0x017c, PIN_INPUT, 0) /* ETH_B_(S)(R)(G)MII_RXD3 (AB8) RGMII2_RD3 */
			AM62LX_IOPAD(0x016c, PIN_INPUT, 0) /* ETH_B_(R)(G)MII_RX_CLK (AC7) RGMII2_RXC */
			AM62LX_IOPAD(0x0168, PIN_INPUT, 0) /* ETH_B_(R)(G)MII_RX_DV(_ER) (AC8) RGMII2_RX_CTL */
			AM62LX_IOPAD(0x0158, PIN_OUTPUT, 0) /* ETH_B_(S)(R)(G)MII_TXD0 (AC12) RGMII2_TD0 */
			AM62LX_IOPAD(0x015c, PIN_OUTPUT, 0) /* ETH_B_(S)(R)(G)MII_TXD1 (AB13) RGMII2_TD1 */
			AM62LX_IOPAD(0x0160, PIN_OUTPUT, 0) /* ETH_B_(S)(R)(G)MII_TXD2 (AA12) RGMII2_TD2 */
			AM62LX_IOPAD(0x0164, PIN_OUTPUT, 0) /* ETH_B_(S)(R)(G)MII_TXD3 (AA13) RGMII2_TD3 */
			AM62LX_IOPAD(0x0154, PIN_OUTPUT, 0) /* ETH_B_(R)(G)MII_TX_CLK (Y13) RGMII2_TXC */
			AM62LX_IOPAD(0x0150, PIN_OUTPUT, 0) /* ETH_B_(R)(G)MII_TX_EN(_ER) (AB12) RGMII2_TX_CTL */
		>;
	};

	rmii1_pins_default: rmii1-default-pins {
		pinctrl-single,pins = <
			AM62LX_IOPAD(0x0138, PIN_INPUT, 1) /* ETH_A_(S)(R)(G)MII_RXD0 (Y8) RGMII1_RD0.RMII1_RD0 */
			AM62LX_IOPAD(0x013c, PIN_INPUT, 1) /* ETH_A_(S)(R)(G)MII_RXD1 (AA6) RGMII1_RD1.RMII1_RD1 */
			AM62LX_IOPAD(0x0134, PIN_INPUT, 1) /* ETH_A_(R)(G)MII_RX_CLK (Y7) RGMII1_RXC.RMII1_REF_CLK */
			AM62LX_IOPAD(0x0130, PIN_INPUT, 1) /* ETH_A_(R)(G)MII_RX_DV(_ER) (Y6) RGMII1_RX_CTL.RMII1_RX_ER */
			AM62LX_IOPAD(0x0120, PIN_OUTPUT, 1) /* ETH_A_(S)(R)(G)MII_TXD0 (AC10) RGMII1_TD0.RMII1_TD0 */
			AM62LX_IOPAD(0x0124, PIN_OUTPUT, 1) /* ETH_A_(S)(R)(G)MII_TXD1 (W13) RGMII1_TD1.RMII1_TD1 */
			AM62LX_IOPAD(0x011c, PIN_OUTPUT, 1) /* ETH_A_(R)(G)MII_TX_CLK (W11) RGMII1_TXC.RMII1_CRS_DV */
			AM62LX_IOPAD(0x0118, PIN_OUTPUT, 1) /* ETH_A_(R)(G)MII_TX_EN(_ER) (AB11) RGMII1_TX_CTL.RMII1_TX_EN */
		>;
	};

	rmii2_pins_default: rmii2-default-pins {
		pinctrl-single,pins = <
			AM62LX_IOPAD(0x0170, PIN_INPUT, 1) /* ETH_B_(S)(R)(G)MII_RXD0 (AB9) RGMII2_RD0.RMII2_RD0 */
			AM62LX_IOPAD(0x0174, PIN_INPUT, 1) /* ETH_B_(S)(R)(G)MII_RXD1 (AC9) RGMII2_RD1.RMII2_RD1 */
			AM62LX_IOPAD(0x016c, PIN_INPUT, 1) /* ETH_B_(R)(G)MII_RX_CLK (AC7) RGMII2_RXC.RMII2_REF_CLK */
			AM62LX_IOPAD(0x0168, PIN_INPUT, 1) /* ETH_B_(R)(G)MII_RX_DV(_ER) (AC8) RGMII2_RX_CTL.RMII2_RX_ER */
			AM62LX_IOPAD(0x0158, PIN_OUTPUT, 1) /* ETH_B_(S)(R)(G)MII_TXD0 (AC12) RGMII2_TD0.RMII2_TD0 */
			AM62LX_IOPAD(0x015c, PIN_OUTPUT, 1) /* ETH_B_(S)(R)(G)MII_TXD1 (AB13) RGMII2_TD1.RMII2_TD1 */
			AM62LX_IOPAD(0x0154, PIN_OUTPUT, 1) /* ETH_B_(R)(G)MII_TX_CLK (Y13) RGMII2_TXC.RMII2_CRS_DV */
			AM62LX_IOPAD(0x0150, PIN_OUTPUT, 1) /* ETH_B_(R)(G)MII_TX_EN(_ER) (AB12) RGMII2_TX_CTL.RMII2_TX_EN */
		>;
	};

	rgmii_phy0_rst_pins_default: rgmii-phy0-rst-default-pins {
		pinctrl-single,pins = <
			AM62LX_IOPAD(0x0190, PIN_INPUT, 7) /* ETH_A_RST (A11) MCASP0_ACLKX.GPIO0_83 */
		>;
	};

	rgmii_phy0_irq_pins_default: rgmii-phy0-irq-default-pins {
		pinctrl-single,pins = <
			AM62LX_IOPAD(0x0194, PIN_INPUT_PULLUP, 7) /* ETH_A_INT (B11) MCASP0_AFSX.GPIO0_84 */
		>;
	};

	usb0_en_pins_default: usb0-en-default-pins {
		pinctrl-single,pins = <
			AM62LX_IOPAD(0x0244, PIN_INPUT | PIN_DS_PULLUD_ENABLE | PIN_DS_PULL_UP, 0) /* USB_A_EN (C6) USB0_DRVVBUS */
		>;
	};

	usb1_en_pins_default: usb1-en-default-pins {
		pinctrl-single,pins = <
			AM62LX_IOPAD(0x0248, PIN_INPUT | PIN_DS_PULLUD_ENABLE | PIN_DS_PULL_UP, 0) /* USB_B_EN (A5) USB1_DRVVBUS */
		>;
	};

	exp0_pins_default: exp0-default-pins {
		pinctrl-single,pins = <
			AM62LX_IOPAD(0x01dc, PIN_INPUT_PULLUP, 7) /* (B8) I2C2_SCL.GPIO0_102 */
		>;
	};

	rtc_pins_default: rtc-default-pins {
		pinctrl-single,pins = <
			AM62LX_IOPAD(0x01e0, PIN_INPUT_PULLUP, 7) /* (D8) I2C2_SDA.GPIO0_103 */
		>;
	};

	mcasp2_pins_default: mcasp2-default-pins {
		pinctrl-single,pins = <
			AM62LX_IOPAD(0x00ac, PIN_INPUT, 3) /* I2S_A_BITCLK (G22) GPMC0_AD13.MCASP2_ACLKX */
			AM62LX_IOPAD(0x00a8, PIN_INPUT, 3) /* I2S_A_LRCLK (G23) GPMC0_AD12.MCASP2.AFSX */
			AM62LX_IOPAD(0x00d0, PIN_INPUT, 3) /* I2S_A_DATA_OUT (P22) GPMC0_BE1n.MCASP2_AXR12 */
			AM62LX_IOPAD(0x00e8, PIN_INPUT, 3) /* I2S_A_DATA_IN (L19) GPMC0_CSn1.MCASP2_AXR15 */
		>;
	};

	mcasp2_mclk_pins_default: mcasp2-mclk-default-pins {
		pinctrl-single,pins = <
			AM62LX_IOPAD(0x01e4, PIN_OUTPUT, 3) /* I2S_AB_MCLK (D16) EXT_REFCLK1 */
		>;
	};

	pmic_irq_pins_default: pmic-irq-default-pins {
		pinctrl-single,pins = <
			AM62LX_IOPAD(0x01e8, PIN_INPUT, 0) /* (C8) EXTINTn */
		>;
	};

	vpp_en_pins_default: vpp-en-default-pins {
		pinctrl-single,pins = <
			AM62LX_IOPAD(0x0054, PIN_INPUT, 7) /* VPP_EN (D23) OSPI0_D3.GPIO0_6 */
		>;
	};

	mmc0_reset_pins_default: mmc0-reset-default-pins {
		pinctrl-single,pins = <
			AM62LX_IOPAD(0x0114, PIN_INPUT, 7) /* SDIO_B_RST (T21) MMC2_SDWP.GPIO0_52 */
		>;
	};

	mmc1_power_en_pins_default: mmc1-power-en-default-pins {
		pinctrl-single,pins = <
			AM62LX_IOPAD(0x0110, PIN_INPUT, 7) /* MMC1_POWER_EN (T20) MMC2_SDCD.GPIO0_51 */
		>;
	};

	wifi_wake_default: wifi-wake-default-pins {
		pinctrl-single,pins = <
			AM62LX_IOPAD(0x018c, PIN_INPUT_PULLUP, 7) /* SDIO_WAKE# (B9) MCASP0_AXR0.GPIO0_82 */
		>;
	};

	bt_wake_pins_default: bt-wake-default-pins {
		pinctrl-single,pins = <
			AM62LX_IOPAD(0x0050, PIN_INPUT_PULLUP, 7) /* BT_HOST_WAKE (E23) OSPI0_D2.GPIO0_5 */
		>;
	};

	wkup_clkout_pins_default: wkup-clkout-default-pins {
		pinctrl-single,pins = <
			AM62LX_IOPAD(0x0018, PIN_OUTPUT, 0) /* (Y23) WKUP_CLKOUT0 */
		>;
	};

	epwm1_pins_default: epwm1-default-pins {
		pinctrl-single,pins = <
			AM62LX_IOPAD(0x0188, PIN_OUTPUT, 5) /* EPWM1A (A9) MCASP0_AXR1.EPWM1A */
		>;
	};

	osm_gpio_a_0_pins_default: osm-gpio-a-0-default-pins {
		pinctrl-single,pins = <
			AM62LX_IOPAD(0x0114, PIN_INPUT, 7) /* GPIO_A_0 (T21) MMC2_SDWP.GPIO0_52 */
		>;
	};

	osm_gpio_a_1_pins_default: osm-gpio-a-1-default-pins {
		pinctrl-single,pins = <
			AM62LX_IOPAD(0x0190, PIN_INPUT, 7) /* GPIO_A_1 (A11) MCASP0_ACLKX.GPIO0_83 */
		>;
	};

	osm_gpio_a_2_pins_default: osm-gpio-a-2-default-pins {
		pinctrl-single,pins = <
			AM62LX_IOPAD(0x0194, PIN_INPUT, 7) /* GPIO_A_2 (B11) MCASP0_AFSX.GPIO0_84 */
		>;
	};

	osm_gpio_a_3_pins_default: osm-gpio-a-3-default-pins {
		pinctrl-single,pins = <
			AM62LX_IOPAD(0x004c, PIN_INPUT, 7) /* GPIO_A_3 (D21) OSPI0_D1.GPIO0_4 */
		>;
	};

	osm_gpio_a_4_pins_default: osm-gpio-a-4-default-pins {
		pinctrl-single,pins = <
			AM62LX_IOPAD(0x0074, PIN_INPUT, 7) /* GPIO_A_4 (C23) OSPI0_CSn3.GPIO0_14 */
		>;
	};

	osm_gpio_a_5_pins_default: osm-gpio-a-5-default-pins {
		pinctrl-single,pins = <
			AM62LX_IOPAD(0x0048, PIN_INPUT, 7) /* GPIO_A_5 (C22) OSPI0_D0.GPIO0_4 */
		>;
	};

	osm_gpio_a_6_pins_default: osm-gpio-a-6-default-pins {
		pinctrl-single,pins = <
			AM62LX_IOPAD(0x0070, PIN_INPUT, 7) /* GPIO_A_6 (D18) OSPI0_CSn2.GPIO0_13 */
		>;
	};

	osm_gpio_a_7_pins_default: osm-gpio-a-7-default-pins {
		pinctrl-single,pins = <
			AM62LX_IOPAD(0x01a4, PIN_INPUT, 7) /* GPIO_A_7 (D11) SPI0_CS1.GPIO0_88 */
		>;
	};

	osm_gpio_b_0_pins_default: osm-gpio-b-0-default-pins {
		pinctrl-single,pins = <
			AM62LX_IOPAD(0x0008, PIN_INPUT, 7) /* GPIO_B_0 (W23) WKUP_UART0_CTS.WKUP_GPIO0_2 */
		>;
	};

	osm_gpio_b_1_pins_default: osm-gpio-b-1-default-pins {
		pinctrl-single,pins = <
			AM62LX_IOPAD(0x000c, PIN_INPUT, 7) /* GPIO_B_1 (W22) WKUP_UART0_RTS.WKUP_GPIO0_3 */
		>;
	};

	osm_gpio_b_2_pins_default: osm-gpio-b-2-default-pins {
		pinctrl-single,pins = <
			AM62LX_IOPAD(0x006c, PIN_INPUT, 7) /* GPIO_B_2 (D20) OSPI0_CSn1.GPIO0_12 */
		>;
	};

	osm_gpio_b_3_pins_default: osm-gpio-b-3-default-pins {
		pinctrl-single,pins = <
			AM62LX_IOPAD(0x003c, PIN_INPUT, 7) /* GPIO_B_3 (D22) OSPI0_CLK.GPIO0_0 */
		>;
	};

	osm_gpio_b_4_pins_default: osm-gpio-b-4-default-pins {
		pinctrl-single,pins = <
			AM62LX_IOPAD(0x00ec, PIN_INPUT, 7) /* GPIO_B_4 (M23) GPMC0_CSn2.GPIO0_43 */
		>;
	};

	osm_gpio_b_5_pins_default: osm-gpio-b-5-default-pins {
		pinctrl-single,pins = <
			AM62LX_IOPAD(0x00f0, PIN_INPUT, 7) /* GPIO_B_5 (M22) GPMC0_CSn3.GPIO0_44 */
		>;
	};

	osm_gpio_c_3_pins_default: osm-gpio-c-3-default-pins {
		pinctrl-single,pins = <
			AM62LX_IOPAD(0x0238, PIN_INPUT, 7) /* GPIO_C_3 (D6) MMC1_SDWP.GPIO0_123 */
		>;
	};

	osm_gpio_c_6_pins_default: osm-gpio-c-6-default-pins {
		pinctrl-single,pins = <
			AM62LX_IOPAD(0x0068, PIN_INPUT, 7) /* GPIO_C_6 (C20) OSPI0_CSn0.GPIO0_11 */
		>;
	};
};
